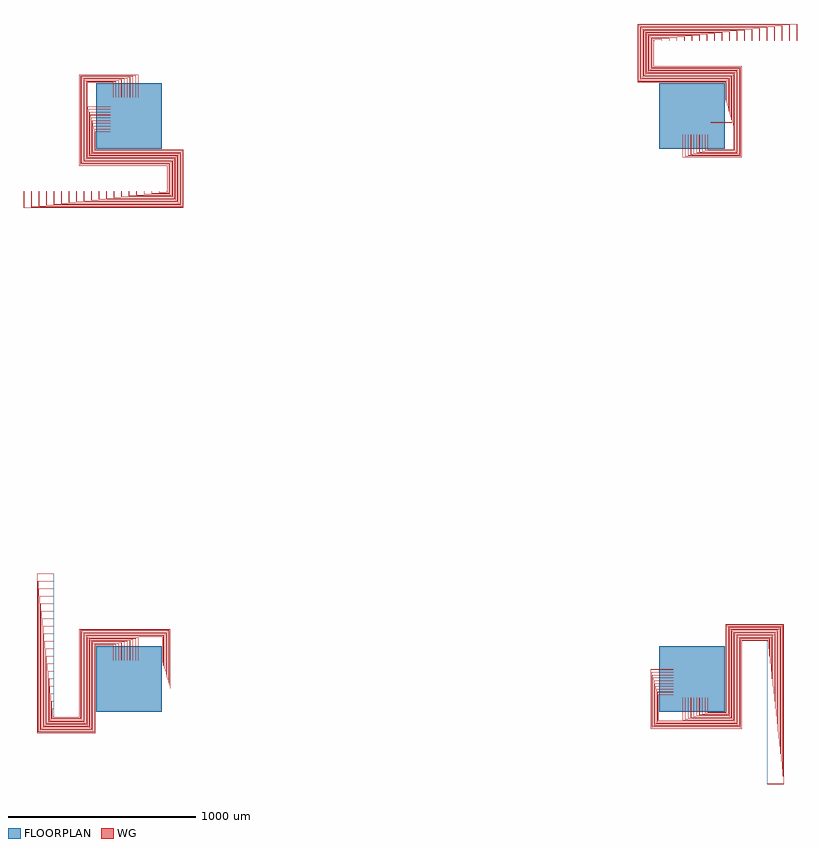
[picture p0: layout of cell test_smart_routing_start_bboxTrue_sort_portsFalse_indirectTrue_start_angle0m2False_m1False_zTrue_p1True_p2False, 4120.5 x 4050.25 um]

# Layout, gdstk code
import gdstk
lib = gdstk.Library(unit=1e-6, precision=1e-09)
def R(c, l, rs):  # rectangles x0, y0, x1, y1
    for r in rs: c.add(gdstk.rectangle(r[:2], r[2:], *l))
def P(c, l, *ps):  # polygons
    for p in ps: c.add(gdstk.Polygon(p, *l))
WG = (1, 0)
FLOORPLAN = (10, 0)

test_smart_routing_start = lib.new_cell('test_smart_routing_start_bboxTrue_sort_portsFalse_indirectTrue_start_angle0m2False_m1False_zTrue_p1True_p2False')
P(test_smart_routing_start, WG, [(2949.75,2780),(2949.75,2900),(2949.95,2900),(2949.95,2780.2),(3264.8,2780.2),(3264.8,3264.8),(2795.55,3264.8),(2795.55,3404.2),(2799.95,3404.2),(2799.95,3400),(2799.75,3400),(2799.75,3404),(2795.75,3404),(2795.75,3265),(3265,3265),(3265,2780)],
  [(2950.05,2780.3),(2950.05,2900),(2950.25,2900),(2950.25,2780.5),(3264.5,2780.5),(3264.5,3264.5),(2795.25,3264.5),(2795.25,3404.5),(2800.25,3404.5),(2800.25,3400),(2800.05,3400),(2800.05,3404.3),(2795.45,3404.3),(2795.45,3264.7),(3264.7,3264.7),(3264.7,2780.3)],
  [(2964.75,2784.5),(2964.75,2900),(2964.95,2900),(2964.95,2784.7),(3260.3,2784.7),(3260.3,3260.3),(2791.05,3260.3),(2791.05,3408.7),(2839.95,3408.7),(2839.95,3400),(2839.75,3400),(2839.75,3408.5),(2791.25,3408.5),(2791.25,3260.5),(3260.5,3260.5),(3260.5,2784.5)],
  [(2965.05,2784.8),(2965.05,2900),(2965.25,2900),(2965.25,2785),(3260,2785),(3260,3260),(2790.75,3260),(2790.75,3409),(2840.25,3409),(2840.25,3400),(2840.05,3400),(2840.05,3408.8),(2790.95,3408.8),(2790.95,3260.2),(3260.2,3260.2),(3260.2,2784.8)],
  [(2979.75,2789),(2979.75,2900),(2979.95,2900),(2979.95,2789.2),(3255.8,2789.2),(3255.8,3255.8),(2786.55,3255.8),(2786.55,3413.2),(2879.95,3413.2),(2879.95,3400),(2879.75,3400),(2879.75,3413),(2786.75,3413),(2786.75,3256),(3256,3256),(3256,2789)],
  [(2980.05,2789.3),(2980.05,2900),(2980.25,2900),(2980.25,2789.5),(3255.5,2789.5),(3255.5,3255.5),(2786.25,3255.5),(2786.25,3413.5),(2880.25,3413.5),(2880.25,3400),(2880.05,3400),(2880.05,3413.3),(2786.45,3413.3),(2786.45,3255.7),(3255.7,3255.7),(3255.7,2789.3)],
  [(2994.75,2793.5),(2994.75,2900),(2994.95,2900),(2994.95,2793.7),(3251.3,2793.7),(3251.3,3251.3),(2782.05,3251.3),(2782.05,3417.7),(2919.95,3417.7),(2919.95,3400),(2919.75,3400),(2919.75,3417.5),(2782.25,3417.5),(2782.25,3251.5),(3251.5,3251.5),(3251.5,2793.5)],
  [(2995.05,2793.8),(2995.05,2900),(2995.25,2900),(2995.25,2794),(3251,2794),(3251,3251),(2781.75,3251),(2781.75,3418),(2920.25,3418),(2920.25,3400),(2920.05,3400),(2920.05,3417.8),(2781.95,3417.8),(2781.95,3251.2),(3251.2,3251.2),(3251.2,2793.8)],
  [(3009.75,2798),(3009.75,2900),(3009.95,2900),(3009.95,2798.2),(3246.8,2798.2),(3246.8,3246.8),(2777.55,3246.8),(2777.55,3422.2),(2959.95,3422.2),(2959.95,3400),(2959.75,3400),(2959.75,3422),(2777.75,3422),(2777.75,3247),(3247,3247),(3247,2798)],
  [(3010.05,2798.3),(3010.05,2900),(3010.25,2900),(3010.25,2798.5),(3246.5,2798.5),(3246.5,3246.5),(2777.25,3246.5),(2777.25,3422.5),(2960.25,3422.5),(2960.25,3400),(2960.05,3400),(2960.05,3422.3),(2777.45,3422.3),(2777.45,3246.7),(3246.7,3246.7),(3246.7,2798.3)],
  [(3024.75,2802.5),(3024.75,2900),(3024.95,2900),(3024.95,2802.7),(3242.3,2802.7),(3242.3,3242.3),(2773.05,3242.3),(2773.05,3426.7),(2999.95,3426.7),(2999.95,3400),(2999.75,3400),(2999.75,3426.5),(2773.25,3426.5),(2773.25,3242.5),(3242.5,3242.5),(3242.5,2802.5)],
  [(3025.05,2802.8),(3025.05,2900),(3025.25,2900),(3025.25,2803),(3242,2803),(3242,3242),(2772.75,3242),(2772.75,3427),(3000.25,3427),(3000.25,3400),(3000.05,3400),(3000.05,3426.8),(2772.95,3426.8),(2772.95,3242.2),(3242.2,3242.2),(3242.2,2802.8)],
  [(3039.75,2807),(3039.75,2900),(3039.95,2900),(3039.95,2807.2),(3237.8,2807.2),(3237.8,3237.8),(2768.55,3237.8),(2768.55,3431.2),(3039.95,3431.2),(3039.95,3400),(3039.75,3400),(3039.75,3431),(2768.75,3431),(2768.75,3238),(3238,3238),(3238,2807)],
  [(3040.05,2807.3),(3040.05,2900),(3040.25,2900),(3040.25,2807.5),(3237.5,2807.5),(3237.5,3237.5),(2768.25,3237.5),(2768.25,3431.5),(3040.25,3431.5),(3040.25,3400),(3040.05,3400),(3040.05,3431.3),(2768.45,3431.3),(2768.45,3237.7),(3237.7,3237.7),(3237.7,2807.3)],
  [(3054.75,2811.5),(3054.75,2900),(3054.95,2900),(3054.95,2811.7),(3233.3,2811.7),(3233.3,3233.3),(2764.05,3233.3),(2764.05,3435.7),(3079.95,3435.7),(3079.95,3400),(3079.75,3400),(3079.75,3435.5),(2764.25,3435.5),(2764.25,3233.5),(3233.5,3233.5),(3233.5,2811.5)],
  [(3055.05,2811.8),(3055.05,2900),(3055.25,2900),(3055.25,2812),(3233,2812),(3233,3233),(2763.75,3233),(2763.75,3436),(3080.25,3436),(3080.25,3400),(3080.05,3400),(3080.05,3435.8),(2763.95,3435.8),(2763.95,3233.2),(3233.2,3233.2),(3233.2,2811.8)],
  [(3069.75,2816),(3069.75,2900),(3069.95,2900),(3069.95,2816.2),(3228.8,2816.2),(3228.8,3228.8),(2759.55,3228.8),(2759.55,3440.2),(3119.95,3440.2),(3119.95,3400),(3119.75,3400),(3119.75,3440),(2759.75,3440),(2759.75,3229),(3229,3229),(3229,2816)],
  [(3070.05,2816.3),(3070.05,2900),(3070.25,2900),(3070.25,2816.5),(3228.5,2816.5),(3228.5,3228.5),(2759.25,3228.5),(2759.25,3440.5),(3120.25,3440.5),(3120.25,3400),(3120.05,3400),(3120.05,3440.3),(2759.45,3440.3),(2759.45,3228.7),(3228.7,3228.7),(3228.7,2816.3)],
  [(3084.75,2820.5),(3084.75,2900),(3084.95,2900),(3084.95,2820.7),(3224.3,2820.7),(3224.3,3224.3),(2755.05,3224.3),(2755.05,3444.7),(3159.95,3444.7),(3159.95,3400),(3159.75,3400),(3159.75,3444.5),(2755.25,3444.5),(2755.25,3224.5),(3224.5,3224.5),(3224.5,2820.5)],
  [(3085.05,2820.8),(3085.05,2900),(3085.25,2900),(3085.25,2821),(3224,2821),(3224,3224),(2754.75,3224),(2754.75,3445),(3160.25,3445),(3160.25,3400),(3160.05,3400),(3160.05,3444.8),(2754.95,3444.8),(2754.95,3224.2),(3224.2,3224.2),(3224.2,2820.8)],
  [(3100,2949.75),(3100,2949.95),(3219.8,2949.95),(3219.8,3219.8),(2750.55,3219.8),(2750.55,3449.2),(3199.95,3449.2),(3199.95,3400),(3199.75,3400),(3199.75,3449),(2750.75,3449),(2750.75,3220),(3220,3220),(3220,2949.75)],
  [(3100,2950.05),(3100,2950.25),(3219.5,2950.25),(3219.5,3219.5),(2750.25,3219.5),(2750.25,3449.5),(3200.25,3449.5),(3200.25,3400),(3200.05,3400),(3200.05,3449.3),(2750.45,3449.3),(2750.45,3219.7),(3219.7,3219.7),(3219.7,2950.05)],
  [(3100,2964.75),(3100,2964.95),(3215.3,2964.95),(3215.3,3215.3),(2746.05,3215.3),(2746.05,3453.7),(3239.95,3453.7),(3239.95,3400),(3239.75,3400),(3239.75,3453.5),(2746.25,3453.5),(2746.25,3215.5),(3215.5,3215.5),(3215.5,2964.75)],
  [(3100,2965.05),(3100,2965.25),(3215,2965.25),(3215,3215),(2745.75,3215),(2745.75,3454),(3240.25,3454),(3240.25,3400),(3240.05,3400),(3240.05,3453.8),(2745.95,3453.8),(2745.95,3215.2),(3215.2,3215.2),(3215.2,2965.05)],
  [(3100,2979.75),(3100,2979.95),(3210.8,2979.95),(3210.8,3210.8),(2741.55,3210.8),(2741.55,3458.2),(3279.95,3458.2),(3279.95,3400),(3279.75,3400),(3279.75,3458),(2741.75,3458),(2741.75,3211),(3211,3211),(3211,2979.75)],
  [(3100,2980.05),(3100,2980.25),(3210.5,2980.25),(3210.5,3210.5),(2741.25,3210.5),(2741.25,3458.5),(3280.25,3458.5),(3280.25,3400),(3280.05,3400),(3280.05,3458.3),(2741.45,3458.3),(2741.45,3210.7),(3210.7,3210.7),(3210.7,2980.05)],
  [(3100,2994.75),(3100,2994.95),(3206.3,2994.95),(3206.3,3206.3),(2737.05,3206.3),(2737.05,3462.7),(3319.95,3462.7),(3319.95,3400),(3319.75,3400),(3319.75,3462.5),(2737.25,3462.5),(2737.25,3206.5),(3206.5,3206.5),(3206.5,2994.75)],
  [(3100,2995.05),(3100,2995.25),(3206,2995.25),(3206,3206),(2736.75,3206),(2736.75,3463),(3320.25,3463),(3320.25,3400),(3320.05,3400),(3320.05,3462.8),(2736.95,3462.8),(2736.95,3206.2),(3206.2,3206.2),(3206.2,2995.05)],
  [(3100,3009.75),(3100,3009.95),(3201.8,3009.95),(3201.8,3201.8),(2732.55,3201.8),(2732.55,3467.2),(3359.95,3467.2),(3359.95,3400),(3359.75,3400),(3359.75,3467),(2732.75,3467),(2732.75,3202),(3202,3202),(3202,3009.75)],
  [(3100,3010.05),(3100,3010.25),(3201.5,3010.25),(3201.5,3201.5),(2732.25,3201.5),(2732.25,3467.5),(3360.25,3467.5),(3360.25,3400),(3360.05,3400),(3360.05,3467.3),(2732.45,3467.3),(2732.45,3201.7),(3201.7,3201.7),(3201.7,3010.05)],
  [(3100,3024.75),(3100,3024.95),(3197.3,3024.95),(3197.3,3197.3),(2728.05,3197.3),(2728.05,3471.7),(3399.95,3471.7),(3399.95,3400),(3399.75,3400),(3399.75,3471.5),(2728.25,3471.5),(2728.25,3197.5),(3197.5,3197.5),(3197.5,3024.75)],
  [(3100,3025.05),(3100,3025.25),(3197,3025.25),(3197,3197),(2727.75,3197),(2727.75,3472),(3400.25,3472),(3400.25,3400),(3400.05,3400),(3400.05,3471.8),(2727.95,3471.8),(2727.95,3197.2),(3197.2,3197.2),(3197.2,3025.05)],
  [(3100,3039.75),(3100,3039.95),(3192.8,3039.95),(3192.8,3192.8),(2723.55,3192.8),(2723.55,3476.2),(3439.95,3476.2),(3439.95,3400),(3439.75,3400),(3439.75,3476),(2723.75,3476),(2723.75,3193),(3193,3193),(3193,3039.75)],
  [(3100,3040.05),(3100,3040.25),(3192.5,3040.25),(3192.5,3192.5),(2723.25,3192.5),(2723.25,3476.5),(3440.25,3476.5),(3440.25,3400),(3440.05,3400),(3440.05,3476.3),(2723.45,3476.3),(2723.45,3192.7),(3192.7,3192.7),(3192.7,3040.05)],
  [(3100,3054.75),(3100,3054.95),(3188.3,3054.95),(3188.3,3188.3),(2719.05,3188.3),(2719.05,3480.7),(3479.95,3480.7),(3479.95,3400),(3479.75,3400),(3479.75,3480.5),(2719.25,3480.5),(2719.25,3188.5),(3188.5,3188.5),(3188.5,3054.75)],
  [(3100,3055.05),(3100,3055.25),(3188,3055.25),(3188,3188),(2718.75,3188),(2718.75,3481),(3480.25,3481),(3480.25,3400),(3480.05,3400),(3480.05,3480.8),(2718.95,3480.8),(2718.95,3188.2),(3188.2,3188.2),(3188.2,3055.05)],
  [(3100,3069.75),(3100,3069.95),(3183.8,3069.95),(3183.8,3183.8),(2714.55,3183.8),(2714.55,3485.2),(3519.95,3485.2),(3519.95,3400),(3519.75,3400),(3519.75,3485),(2714.75,3485),(2714.75,3184),(3184,3184),(3184,3069.75)],
  [(3100,3070.05),(3100,3070.25),(3183.5,3070.25),(3183.5,3183.5),(2714.25,3183.5),(2714.25,3485.5),(3520.25,3485.5),(3520.25,3400),(3520.05,3400),(3520.05,3485.3),(2714.45,3485.3),(2714.45,3183.7),(3183.7,3183.7),(3183.7,3070.05)],
  [(3100,3084.75),(3100,3084.95),(3179.3,3084.95),(3179.3,3179.3),(2710.05,3179.3),(2710.05,3489.7),(3559.95,3489.7),(3559.95,3400),(3559.75,3400),(3559.75,3489.5),(2710.25,3489.5),(2710.25,3179.5),(3179.5,3179.5),(3179.5,3084.75)],
  [(3100,3085.05),(3100,3085.25),(3179,3085.25),(3179,3179),(2709.75,3179),(2709.75,3490),(3560.25,3490),(3560.25,3400),(3560.05,3400),(3560.05,3489.8),(2709.95,3489.8),(2709.95,3179.2),(3179.2,3179.2),(3179.2,3085.05)],
  [(199.75,2595.5),(199.75,2600),(199.95,2600),(199.95,2595.7),(204.55,2595.7),(204.55,2735.3),(-264.7,2735.3),(-264.7,3219.7),(49.95,3219.7),(49.95,3100),(49.75,3100),(49.75,3219.5),(-264.5,3219.5),(-264.5,2735.5),(204.75,2735.5),(204.75,2595.5)],
  [(200.05,2595.8),(200.05,2600),(200.25,2600),(200.25,2596),(204.25,2596),(204.25,2735),(-265,2735),(-265,3220),(50.25,3220),(50.25,3100),(50.05,3100),(50.05,3219.8),(-264.8,3219.8),(-264.8,2735.2),(204.45,2735.2),(204.45,2595.8)],
  [(159.75,2591),(159.75,2600),(159.95,2600),(159.95,2591.2),(209.05,2591.2),(209.05,2739.8),(-260.2,2739.8),(-260.2,3215.2),(34.95,3215.2),(34.95,3100),(34.75,3100),(34.75,3215),(-260,3215),(-260,2740),(209.25,2740),(209.25,2591)],
  [(160.05,2591.3),(160.05,2600),(160.25,2600),(160.25,2591.5),(208.75,2591.5),(208.75,2739.5),(-260.5,2739.5),(-260.5,3215.5),(35.25,3215.5),(35.25,3100),(35.05,3100),(35.05,3215.3),(-260.3,3215.3),(-260.3,2739.7),(208.95,2739.7),(208.95,2591.3)],
  [(119.75,2586.5),(119.75,2600),(119.95,2600),(119.95,2586.7),(213.55,2586.7),(213.55,2744.3),(-255.7,2744.3),(-255.7,3210.7),(19.95,3210.7),(19.95,3100),(19.75,3100),(19.75,3210.5),(-255.5,3210.5),(-255.5,2744.5),(213.75,2744.5),(213.75,2586.5)],
  [(120.05,2586.8),(120.05,2600),(120.25,2600),(120.25,2587),(213.25,2587),(213.25,2744),(-256,2744),(-256,3211),(20.25,3211),(20.25,3100),(20.05,3100),(20.05,3210.8),(-255.8,3210.8),(-255.8,2744.2),(213.45,2744.2),(213.45,2586.8)],
  [(79.75,2582),(79.75,2600),(79.95,2600),(79.95,2582.2),(218.05,2582.2),(218.05,2748.8),(-251.2,2748.8),(-251.2,3206.2),(4.95,3206.2),(4.95,3100),(4.75,3100),(4.75,3206),(-251,3206),(-251,2749),(218.25,2749),(218.25,2582)],
  [(80.05,2582.3),(80.05,2600),(80.25,2600),(80.25,2582.5),(217.75,2582.5),(217.75,2748.5),(-251.5,2748.5),(-251.5,3206.5),(5.25,3206.5),(5.25,3100),(5.05,3100),(5.05,3206.3),(-251.3,3206.3),(-251.3,2748.7),(217.95,2748.7),(217.95,2582.3)],
  [(39.75,2577.5),(39.75,2600),(39.95,2600),(39.95,2577.7),(222.55,2577.7),(222.55,2753.3),(-246.7,2753.3),(-246.7,3201.7),(-10.05,3201.7),(-10.05,3100),(-10.25,3100),(-10.25,3201.5),(-246.5,3201.5),(-246.5,2753.5),(222.75,2753.5),(222.75,2577.5)],
  [(40.05,2577.8),(40.05,2600),(40.25,2600),(40.25,2578),(222.25,2578),(222.25,2753),(-247,2753),(-247,3202),(-9.75,3202),(-9.75,3100),(-9.95,3100),(-9.95,3201.8),(-246.8,3201.8),(-246.8,2753.2),(222.45,2753.2),(222.45,2577.8)],
  [(-0.25,2573),(-0.25,2600),(-0.05,2600),(-0.05,2573.2),(227.05,2573.2),(227.05,2757.8),(-242.2,2757.8),(-242.2,3197.2),(-25.05,3197.2),(-25.05,3100),(-25.25,3100),(-25.25,3197),(-242,3197),(-242,2758),(227.25,2758),(227.25,2573)],
  [(0.05,2573.3),(0.05,2600),(0.25,2600),(0.25,2573.5),(226.75,2573.5),(226.75,2757.5),(-242.5,2757.5),(-242.5,3197.5),(-24.75,3197.5),(-24.75,3100),(-24.95,3100),(-24.95,3197.3),(-242.3,3197.3),(-242.3,2757.7),(226.95,2757.7),(226.95,2573.3)],
  [(-40.25,2568.5),(-40.25,2600),(-40.05,2600),(-40.05,2568.7),(231.55,2568.7),(231.55,2762.3),(-237.7,2762.3),(-237.7,3192.7),(-40.05,3192.7),(-40.05,3100),(-40.25,3100),(-40.25,3192.5),(-237.5,3192.5),(-237.5,2762.5),(231.75,2762.5),(231.75,2568.5)],
  [(-39.95,2568.8),(-39.95,2600),(-39.75,2600),(-39.75,2569),(231.25,2569),(231.25,2762),(-238,2762),(-238,3193),(-39.75,3193),(-39.75,3100),(-39.95,3100),(-39.95,3192.8),(-237.8,3192.8),(-237.8,2762.2),(231.45,2762.2),(231.45,2568.8)],
  [(-80.25,2564),(-80.25,2600),(-80.05,2600),(-80.05,2564.2),(236.05,2564.2),(236.05,2766.8),(-233.2,2766.8),(-233.2,3188.2),(-55.05,3188.2),(-55.05,3100),(-55.25,3100),(-55.25,3188),(-233,3188),(-233,2767),(236.25,2767),(236.25,2564)],
  [(-79.95,2564.3),(-79.95,2600),(-79.75,2600),(-79.75,2564.5),(235.75,2564.5),(235.75,2766.5),(-233.5,2766.5),(-233.5,3188.5),(-54.75,3188.5),(-54.75,3100),(-54.95,3100),(-54.95,3188.3),(-233.3,3188.3),(-233.3,2766.7),(235.95,2766.7),(235.95,2564.3)],
  [(-120.25,2559.5),(-120.25,2600),(-120.05,2600),(-120.05,2559.7),(240.55,2559.7),(240.55,2771.3),(-228.7,2771.3),(-228.7,3183.7),(-70.05,3183.7),(-70.05,3100),(-70.25,3100),(-70.25,3183.5),(-228.5,3183.5),(-228.5,2771.5),(240.75,2771.5),(240.75,2559.5)],
  [(-119.95,2559.8),(-119.95,2600),(-119.75,2600),(-119.75,2560),(240.25,2560),(240.25,2771),(-229,2771),(-229,3184),(-69.75,3184),(-69.75,3100),(-69.95,3100),(-69.95,3183.8),(-228.8,3183.8),(-228.8,2771.2),(240.45,2771.2),(240.45,2559.8)],
  [(-160.25,2555),(-160.25,2600),(-160.05,2600),(-160.05,2555.2),(245.05,2555.2),(245.05,2775.8),(-224.2,2775.8),(-224.2,3179.2),(-85.05,3179.2),(-85.05,3100),(-85.25,3100),(-85.25,3179),(-224,3179),(-224,2776),(245.25,2776),(245.25,2555)],
  [(-159.95,2555.3),(-159.95,2600),(-159.75,2600),(-159.75,2555.5),(244.75,2555.5),(244.75,2775.5),(-224.5,2775.5),(-224.5,3179.5),(-84.75,3179.5),(-84.75,3100),(-84.95,3100),(-84.95,3179.3),(-224.3,3179.3),(-224.3,2775.7),(244.95,2775.7),(244.95,2555.3)],
  [(-200.25,2550.5),(-200.25,2600),(-200.05,2600),(-200.05,2550.7),(249.55,2550.7),(249.55,2780.3),(-219.7,2780.3),(-219.7,3049.95),(-100,3049.95),(-100,3049.75),(-219.5,3049.75),(-219.5,2780.5),(249.75,2780.5),(249.75,2550.5)],
  [(-199.95,2550.8),(-199.95,2600),(-199.75,2600),(-199.75,2551),(249.25,2551),(249.25,2780),(-220,2780),(-220,3050.25),(-100,3050.25),(-100,3050.05),(-219.8,3050.05),(-219.8,2780.2),(249.45,2780.2),(249.45,2550.8)],
  [(-240.25,2546),(-240.25,2600),(-240.05,2600),(-240.05,2546.2),(254.05,2546.2),(254.05,2784.8),(-215.2,2784.8),(-215.2,3034.95),(-100,3034.95),(-100,3034.75),(-215,3034.75),(-215,2785),(254.25,2785),(254.25,2546)],
  [(-239.95,2546.3),(-239.95,2600),(-239.75,2600),(-239.75,2546.5),(253.75,2546.5),(253.75,2784.5),(-215.5,2784.5),(-215.5,3035.25),(-100,3035.25),(-100,3035.05),(-215.3,3035.05),(-215.3,2784.7),(253.95,2784.7),(253.95,2546.3)],
  [(-280.25,2541.5),(-280.25,2600),(-280.05,2600),(-280.05,2541.7),(258.55,2541.7),(258.55,2789.3),(-210.7,2789.3),(-210.7,3019.95),(-100,3019.95),(-100,3019.75),(-210.5,3019.75),(-210.5,2789.5),(258.75,2789.5),(258.75,2541.5)],
  [(-279.95,2541.8),(-279.95,2600),(-279.75,2600),(-279.75,2542),(258.25,2542),(258.25,2789),(-211,2789),(-211,3020.25),(-100,3020.25),(-100,3020.05),(-210.8,3020.05),(-210.8,2789.2),(258.45,2789.2),(258.45,2541.8)],
  [(-320.25,2537),(-320.25,2600),(-320.05,2600),(-320.05,2537.2),(263.05,2537.2),(263.05,2793.8),(-206.2,2793.8),(-206.2,3004.95),(-100,3004.95),(-100,3004.75),(-206,3004.75),(-206,2794),(263.25,2794),(263.25,2537)],
  [(-319.95,2537.3),(-319.95,2600),(-319.75,2600),(-319.75,2537.5),(262.75,2537.5),(262.75,2793.5),(-206.5,2793.5),(-206.5,3005.25),(-100,3005.25),(-100,3005.05),(-206.3,3005.05),(-206.3,2793.7),(262.95,2793.7),(262.95,2537.3)],
  [(-360.25,2532.5),(-360.25,2600),(-360.05,2600),(-360.05,2532.7),(267.55,2532.7),(267.55,2798.3),(-201.7,2798.3),(-201.7,2989.95),(-100,2989.95),(-100,2989.75),(-201.5,2989.75),(-201.5,2798.5),(267.75,2798.5),(267.75,2532.5)],
  [(-359.95,2532.8),(-359.95,2600),(-359.75,2600),(-359.75,2533),(267.25,2533),(267.25,2798),(-202,2798),(-202,2990.25),(-100,2990.25),(-100,2990.05),(-201.8,2990.05),(-201.8,2798.2),(267.45,2798.2),(267.45,2532.8)],
  [(-400.25,2528),(-400.25,2600),(-400.05,2600),(-400.05,2528.2),(272.05,2528.2),(272.05,2802.8),(-197.2,2802.8),(-197.2,2974.95),(-100,2974.95),(-100,2974.75),(-197,2974.75),(-197,2803),(272.25,2803),(272.25,2528)],
  [(-399.95,2528.3),(-399.95,2600),(-399.75,2600),(-399.75,2528.5),(271.75,2528.5),(271.75,2802.5),(-197.5,2802.5),(-197.5,2975.25),(-100,2975.25),(-100,2975.05),(-197.3,2975.05),(-197.3,2802.7),(271.95,2802.7),(271.95,2528.3)],
  [(-440.25,2523.5),(-440.25,2600),(-440.05,2600),(-440.05,2523.7),(276.55,2523.7),(276.55,2807.3),(-192.7,2807.3),(-192.7,2959.95),(-100,2959.95),(-100,2959.75),(-192.5,2959.75),(-192.5,2807.5),(276.75,2807.5),(276.75,2523.5)],
  [(-439.95,2523.8),(-439.95,2600),(-439.75,2600),(-439.75,2524),(276.25,2524),(276.25,2807),(-193,2807),(-193,2960.25),(-100,2960.25),(-100,2960.05),(-192.8,2960.05),(-192.8,2807.2),(276.45,2807.2),(276.45,2523.8)],
  [(-480.25,2519),(-480.25,2600),(-480.05,2600),(-480.05,2519.2),(281.05,2519.2),(281.05,2811.8),(-188.2,2811.8),(-188.2,2944.95),(-100,2944.95),(-100,2944.75),(-188,2944.75),(-188,2812),(281.25,2812),(281.25,2519)],
  [(-479.95,2519.3),(-479.95,2600),(-479.75,2600),(-479.75,2519.5),(280.75,2519.5),(280.75,2811.5),(-188.5,2811.5),(-188.5,2945.25),(-100,2945.25),(-100,2945.05),(-188.3,2945.05),(-188.3,2811.7),(280.95,2811.7),(280.95,2519.3)],
  [(-520.25,2514.5),(-520.25,2600),(-520.05,2600),(-520.05,2514.7),(285.55,2514.7),(285.55,2816.3),(-183.7,2816.3),(-183.7,2929.95),(-100,2929.95),(-100,2929.75),(-183.5,2929.75),(-183.5,2816.5),(285.75,2816.5),(285.75,2514.5)],
  [(-519.95,2514.8),(-519.95,2600),(-519.75,2600),(-519.75,2515),(285.25,2515),(285.25,2816),(-184,2816),(-184,2930.25),(-100,2930.25),(-100,2930.05),(-183.8,2930.05),(-183.8,2816.2),(285.45,2816.2),(285.45,2514.8)],
  [(-560.25,2510),(-560.25,2600),(-560.05,2600),(-560.05,2510.2),(290.05,2510.2),(290.05,2820.8),(-179.2,2820.8),(-179.2,2914.95),(-100,2914.95),(-100,2914.75),(-179,2914.75),(-179,2821),(290.25,2821),(290.25,2510)],
  [(-559.95,2510.3),(-559.95,2600),(-559.75,2600),(-559.75,2510.5),(289.75,2510.5),(289.75,2820.5),(-179.5,2820.5),(-179.5,2915.25),(-100,2915.25),(-100,2915.05),(-179.3,2915.05),(-179.3,2820.7),(289.95,2820.7),(289.95,2510.3)],
  [(-404.5,-204.75),(-404.5,-199.75),(-400,-199.75),(-400,-199.95),(-404.3,-199.95),(-404.3,-204.55),(-264.7,-204.55),(-264.7,264.7),(219.7,264.7),(219.7,-49.95),(100,-49.95),(100,-49.75),(219.5,-49.75),(219.5,264.5),(-264.5,264.5),(-264.5,-204.75)],
  [(-404.2,-204.45),(-404.2,-200.05),(-400,-200.05),(-400,-200.25),(-404,-200.25),(-404,-204.25),(-265,-204.25),(-265,265),(220,265),(220,-50.25),(100,-50.25),(100,-50.05),(219.8,-50.05),(219.8,264.8),(-264.8,264.8),(-264.8,-204.45)],
  [(-409,-209.25),(-409,-159.75),(-400,-159.75),(-400,-159.95),(-408.8,-159.95),(-408.8,-209.05),(-260.2,-209.05),(-260.2,260.2),(215.2,260.2),(215.2,-34.95),(100,-34.95),(100,-34.75),(215,-34.75),(215,260),(-260,260),(-260,-209.25)],
  [(-408.7,-208.95),(-408.7,-160.05),(-400,-160.05),(-400,-160.25),(-408.5,-160.25),(-408.5,-208.75),(-260.5,-208.75),(-260.5,260.5),(215.5,260.5),(215.5,-35.25),(100,-35.25),(100,-35.05),(215.3,-35.05),(215.3,260.3),(-260.3,260.3),(-260.3,-208.95)],
  [(-413.5,-213.75),(-413.5,-119.75),(-400,-119.75),(-400,-119.95),(-413.3,-119.95),(-413.3,-213.55),(-255.7,-213.55),(-255.7,255.7),(210.7,255.7),(210.7,-19.95),(100,-19.95),(100,-19.75),(210.5,-19.75),(210.5,255.5),(-255.5,255.5),(-255.5,-213.75)],
  [(-413.2,-213.45),(-413.2,-120.05),(-400,-120.05),(-400,-120.25),(-413,-120.25),(-413,-213.25),(-256,-213.25),(-256,256),(211,256),(211,-20.25),(100,-20.25),(100,-20.05),(210.8,-20.05),(210.8,255.8),(-255.8,255.8),(-255.8,-213.45)],
  [(-418,-218.25),(-418,-79.75),(-400,-79.75),(-400,-79.95),(-417.8,-79.95),(-417.8,-218.05),(-251.2,-218.05),(-251.2,251.2),(206.2,251.2),(206.2,-4.95),(100,-4.95),(100,-4.75),(206,-4.75),(206,251),(-251,251),(-251,-218.25)],
  [(-417.7,-217.95),(-417.7,-80.05),(-400,-80.05),(-400,-80.25),(-417.5,-80.25),(-417.5,-217.75),(-251.5,-217.75),(-251.5,251.5),(206.5,251.5),(206.5,-5.25),(100,-5.25),(100,-5.05),(206.3,-5.05),(206.3,251.3),(-251.3,251.3),(-251.3,-217.95)],
  [(-422.5,-222.75),(-422.5,-39.75),(-400,-39.75),(-400,-39.95),(-422.3,-39.95),(-422.3,-222.55),(-246.7,-222.55),(-246.7,246.7),(201.7,246.7),(201.7,10.05),(100,10.05),(100,10.25),(201.5,10.25),(201.5,246.5),(-246.5,246.5),(-246.5,-222.75)],
  [(-422.2,-222.45),(-422.2,-40.05),(-400,-40.05),(-400,-40.25),(-422,-40.25),(-422,-222.25),(-247,-222.25),(-247,247),(202,247),(202,9.75),(100,9.75),(100,9.95),(201.8,9.95),(201.8,246.8),(-246.8,246.8),(-246.8,-222.45)],
  [(-427,-227.25),(-427,0.25),(-400,0.25),(-400,0.05),(-426.8,0.05),(-426.8,-227.05),(-242.2,-227.05),(-242.2,242.2),(197.2,242.2),(197.2,25.05),(100,25.05),(100,25.25),(197,25.25),(197,242),(-242,242),(-242,-227.25)],
  [(-426.7,-226.95),(-426.7,-0.05),(-400,-0.05),(-400,-0.25),(-426.5,-0.25),(-426.5,-226.75),(-242.5,-226.75),(-242.5,242.5),(197.5,242.5),(197.5,24.75),(100,24.75),(100,24.95),(197.3,24.95),(197.3,242.3),(-242.3,242.3),(-242.3,-226.95)],
  [(-431.5,-231.75),(-431.5,40.25),(-400,40.25),(-400,40.05),(-431.3,40.05),(-431.3,-231.55),(-237.7,-231.55),(-237.7,237.7),(192.7,237.7),(192.7,40.05),(100,40.05),(100,40.25),(192.5,40.25),(192.5,237.5),(-237.5,237.5),(-237.5,-231.75)],
  [(-431.2,-231.45),(-431.2,39.95),(-400,39.95),(-400,39.75),(-431,39.75),(-431,-231.25),(-238,-231.25),(-238,238),(193,238),(193,39.75),(100,39.75),(100,39.95),(192.8,39.95),(192.8,237.8),(-237.8,237.8),(-237.8,-231.45)],
  [(-436,-236.25),(-436,80.25),(-400,80.25),(-400,80.05),(-435.8,80.05),(-435.8,-236.05),(-233.2,-236.05),(-233.2,233.2),(188.2,233.2),(188.2,55.05),(100,55.05),(100,55.25),(188,55.25),(188,233),(-233,233),(-233,-236.25)],
  [(-435.7,-235.95),(-435.7,79.95),(-400,79.95),(-400,79.75),(-435.5,79.75),(-435.5,-235.75),(-233.5,-235.75),(-233.5,233.5),(188.5,233.5),(188.5,54.75),(100,54.75),(100,54.95),(188.3,54.95),(188.3,233.3),(-233.3,233.3),(-233.3,-235.95)],
  [(-440.5,-240.75),(-440.5,120.25),(-400,120.25),(-400,120.05),(-440.3,120.05),(-440.3,-240.55),(-228.7,-240.55),(-228.7,228.7),(183.7,228.7),(183.7,70.05),(100,70.05),(100,70.25),(183.5,70.25),(183.5,228.5),(-228.5,228.5),(-228.5,-240.75)],
  [(-440.2,-240.45),(-440.2,119.95),(-400,119.95),(-400,119.75),(-440,119.75),(-440,-240.25),(-229,-240.25),(-229,229),(184,229),(184,69.75),(100,69.75),(100,69.95),(183.8,69.95),(183.8,228.8),(-228.8,228.8),(-228.8,-240.45)],
  [(-445,-245.25),(-445,160.25),(-400,160.25),(-400,160.05),(-444.8,160.05),(-444.8,-245.05),(-224.2,-245.05),(-224.2,224.2),(179.2,224.2),(179.2,85.05),(100,85.05),(100,85.25),(179,85.25),(179,224),(-224,224),(-224,-245.25)],
  [(-444.7,-244.95),(-444.7,159.95),(-400,159.95),(-400,159.75),(-444.5,159.75),(-444.5,-244.75),(-224.5,-244.75),(-224.5,224.5),(179.5,224.5),(179.5,84.75),(100,84.75),(100,84.95),(179.3,84.95),(179.3,224.3),(-224.3,224.3),(-224.3,-244.95)],
  [(-449.5,-249.75),(-449.5,200.25),(-400,200.25),(-400,200.05),(-449.3,200.05),(-449.3,-249.55),(-219.7,-249.55),(-219.7,219.7),(49.95,219.7),(49.95,100),(49.75,100),(49.75,219.5),(-219.5,219.5),(-219.5,-249.75)],
  [(-449.2,-249.45),(-449.2,199.95),(-400,199.95),(-400,199.75),(-449,199.75),(-449,-249.25),(-220,-249.25),(-220,220),(50.25,220),(50.25,100),(50.05,100),(50.05,219.8),(-219.8,219.8),(-219.8,-249.45)],
  [(-453.7,-253.95),(-453.7,239.95),(-400,239.95),(-400,239.75),(-453.5,239.75),(-453.5,-253.75),(-215.5,-253.75),(-215.5,215.5),(35.25,215.5),(35.25,100),(35.05,100),(35.05,215.3),(-215.3,215.3),(-215.3,-253.95)],
  [(-454,-254.25),(-454,240.25),(-400,240.25),(-400,240.05),(-453.8,240.05),(-453.8,-254.05),(-215.2,-254.05),(-215.2,215.2),(34.95,215.2),(34.95,100),(34.75,100),(34.75,215),(-215,215),(-215,-254.25)],
  [(-458.2,-258.45),(-458.2,279.95),(-400,279.95),(-400,279.75),(-458,279.75),(-458,-258.25),(-211,-258.25),(-211,211),(20.25,211),(20.25,100),(20.05,100),(20.05,210.8),(-210.8,210.8),(-210.8,-258.45)],
  [(-458.5,-258.75),(-458.5,280.25),(-400,280.25),(-400,280.05),(-458.3,280.05),(-458.3,-258.55),(-210.7,-258.55),(-210.7,210.7),(19.95,210.7),(19.95,100),(19.75,100),(19.75,210.5),(-210.5,210.5),(-210.5,-258.75)],
  [(-462.7,-262.95),(-462.7,319.95),(-400,319.95),(-400,319.75),(-462.5,319.75),(-462.5,-262.75),(-206.5,-262.75),(-206.5,206.5),(5.25,206.5),(5.25,100),(5.05,100),(5.05,206.3),(-206.3,206.3),(-206.3,-262.95)],
  [(-463,-263.25),(-463,320.25),(-400,320.25),(-400,320.05),(-462.8,320.05),(-462.8,-263.05),(-206.2,-263.05),(-206.2,206.2),(4.95,206.2),(4.95,100),(4.75,100),(4.75,206),(-206,206),(-206,-263.25)],
  [(-467.2,-267.45),(-467.2,359.95),(-400,359.95),(-400,359.75),(-467,359.75),(-467,-267.25),(-202,-267.25),(-202,202),(-9.75,202),(-9.75,100),(-9.95,100),(-9.95,201.8),(-201.8,201.8),(-201.8,-267.45)],
  [(-467.5,-267.75),(-467.5,360.25),(-400,360.25),(-400,360.05),(-467.3,360.05),(-467.3,-267.55),(-201.7,-267.55),(-201.7,201.7),(-10.05,201.7),(-10.05,100),(-10.25,100),(-10.25,201.5),(-201.5,201.5),(-201.5,-267.75)],
  [(-471.7,-271.95),(-471.7,399.95),(-400,399.95),(-400,399.75),(-471.5,399.75),(-471.5,-271.75),(-197.5,-271.75),(-197.5,197.5),(-24.75,197.5),(-24.75,100),(-24.95,100),(-24.95,197.3),(-197.3,197.3),(-197.3,-271.95)],
  [(-472,-272.25),(-472,400.25),(-400,400.25),(-400,400.05),(-471.8,400.05),(-471.8,-272.05),(-197.2,-272.05),(-197.2,197.2),(-25.05,197.2),(-25.05,100),(-25.25,100),(-25.25,197),(-197,197),(-197,-272.25)],
  [(-476.2,-276.45),(-476.2,439.95),(-400,439.95),(-400,439.75),(-476,439.75),(-476,-276.25),(-193,-276.25),(-193,193),(-39.75,193),(-39.75,100),(-39.95,100),(-39.95,192.8),(-192.8,192.8),(-192.8,-276.45)],
  [(-476.5,-276.75),(-476.5,440.25),(-400,440.25),(-400,440.05),(-476.3,440.05),(-476.3,-276.55),(-192.7,-276.55),(-192.7,192.7),(-40.05,192.7),(-40.05,100),(-40.25,100),(-40.25,192.5),(-192.5,192.5),(-192.5,-276.75)],
  [(-480.7,-280.95),(-480.7,479.95),(-400,479.95),(-400,479.75),(-480.5,479.75),(-480.5,-280.75),(-188.5,-280.75),(-188.5,188.5),(-54.75,188.5),(-54.75,100),(-54.95,100),(-54.95,188.3),(-188.3,188.3),(-188.3,-280.95)],
  [(-481,-281.25),(-481,480.25),(-400,480.25),(-400,480.05),(-480.8,480.05),(-480.8,-281.05),(-188.2,-281.05),(-188.2,188.2),(-55.05,188.2),(-55.05,100),(-55.25,100),(-55.25,188),(-188,188),(-188,-281.25)],
  [(-485.2,-285.45),(-485.2,519.95),(-400,519.95),(-400,519.75),(-485,519.75),(-485,-285.25),(-184,-285.25),(-184,184),(-69.75,184),(-69.75,100),(-69.95,100),(-69.95,183.8),(-183.8,183.8),(-183.8,-285.45)],
  [(-485.5,-285.75),(-485.5,520.25),(-400,520.25),(-400,520.05),(-485.3,520.05),(-485.3,-285.55),(-183.7,-285.55),(-183.7,183.7),(-70.05,183.7),(-70.05,100),(-70.25,100),(-70.25,183.5),(-183.5,183.5),(-183.5,-285.75)],
  [(-489.7,-289.95),(-489.7,559.95),(-400,559.95),(-400,559.75),(-489.5,559.75),(-489.5,-289.75),(-179.5,-289.75),(-179.5,179.5),(-84.75,179.5),(-84.75,100),(-84.95,100),(-84.95,179.3),(-179.3,179.3),(-179.3,-289.95)],
  [(-490,-290.25),(-490,560.25),(-400,560.25),(-400,560.05),(-489.8,560.05),(-489.8,-290.05),(-179.2,-290.05),(-179.2,179.2),(-85.05,179.2),(-85.05,100),(-85.25,100),(-85.25,179),(-179,179),(-179,-290.25)],
  [(2780,-265),(2780,50.25),(2900,50.25),(2900,50.05),(2780.2,50.05),(2780.2,-264.8),(3264.8,-264.8),(3264.8,204.45),(3404.2,204.45),(3404.2,200.05),(3400,200.05),(3400,200.25),(3404,200.25),(3404,204.25),(3265,204.25),(3265,-265)],
  [(2780.3,-264.7),(2780.3,49.95),(2900,49.95),(2900,49.75),(2780.5,49.75),(2780.5,-264.5),(3264.5,-264.5),(3264.5,204.75),(3404.5,204.75),(3404.5,199.75),(3400,199.75),(3400,199.95),(3404.3,199.95),(3404.3,204.55),(3264.7,204.55),(3264.7,-264.7)],
  [(2784.5,-260.5),(2784.5,35.25),(2900,35.25),(2900,35.05),(2784.7,35.05),(2784.7,-260.3),(3260.3,-260.3),(3260.3,208.95),(3408.7,208.95),(3408.7,160.05),(3400,160.05),(3400,160.25),(3408.5,160.25),(3408.5,208.75),(3260.5,208.75),(3260.5,-260.5)],
  [(2784.8,-260.2),(2784.8,34.95),(2900,34.95),(2900,34.75),(2785,34.75),(2785,-260),(3260,-260),(3260,209.25),(3409,209.25),(3409,159.75),(3400,159.75),(3400,159.95),(3408.8,159.95),(3408.8,209.05),(3260.2,209.05),(3260.2,-260.2)],
  [(2789,-256),(2789,20.25),(2900,20.25),(2900,20.05),(2789.2,20.05),(2789.2,-255.8),(3255.8,-255.8),(3255.8,213.45),(3413.2,213.45),(3413.2,120.05),(3400,120.05),(3400,120.25),(3413,120.25),(3413,213.25),(3256,213.25),(3256,-256)],
  [(2789.3,-255.7),(2789.3,19.95),(2900,19.95),(2900,19.75),(2789.5,19.75),(2789.5,-255.5),(3255.5,-255.5),(3255.5,213.75),(3413.5,213.75),(3413.5,119.75),(3400,119.75),(3400,119.95),(3413.3,119.95),(3413.3,213.55),(3255.7,213.55),(3255.7,-255.7)],
  [(2793.5,-251.5),(2793.5,5.25),(2900,5.25),(2900,5.05),(2793.7,5.05),(2793.7,-251.3),(3251.3,-251.3),(3251.3,217.95),(3417.7,217.95),(3417.7,80.05),(3400,80.05),(3400,80.25),(3417.5,80.25),(3417.5,217.75),(3251.5,217.75),(3251.5,-251.5)],
  [(2793.8,-251.2),(2793.8,4.95),(2900,4.95),(2900,4.75),(2794,4.75),(2794,-251),(3251,-251),(3251,218.25),(3418,218.25),(3418,79.75),(3400,79.75),(3400,79.95),(3417.8,79.95),(3417.8,218.05),(3251.2,218.05),(3251.2,-251.2)],
  [(2798,-247),(2798,-9.75),(2900,-9.75),(2900,-9.95),(2798.2,-9.95),(2798.2,-246.8),(3246.8,-246.8),(3246.8,222.45),(3422.2,222.45),(3422.2,40.05),(3400,40.05),(3400,40.25),(3422,40.25),(3422,222.25),(3247,222.25),(3247,-247)],
  [(2798.3,-246.7),(2798.3,-10.05),(2900,-10.05),(2900,-10.25),(2798.5,-10.25),(2798.5,-246.5),(3246.5,-246.5),(3246.5,222.75),(3422.5,222.75),(3422.5,39.75),(3400,39.75),(3400,39.95),(3422.3,39.95),(3422.3,222.55),(3246.7,222.55),(3246.7,-246.7)],
  [(2802.5,-242.5),(2802.5,-24.75),(2900,-24.75),(2900,-24.95),(2802.7,-24.95),(2802.7,-242.3),(3242.3,-242.3),(3242.3,226.95),(3426.7,226.95),(3426.7,0.05),(3400,0.05),(3400,0.25),(3426.5,0.25),(3426.5,226.75),(3242.5,226.75),(3242.5,-242.5)],
  [(2802.8,-242.2),(2802.8,-25.05),(2900,-25.05),(2900,-25.25),(2803,-25.25),(2803,-242),(3242,-242),(3242,227.25),(3427,227.25),(3427,-0.25),(3400,-0.25),(3400,-0.05),(3426.8,-0.05),(3426.8,227.05),(3242.2,227.05),(3242.2,-242.2)],
  [(2807,-238),(2807,-39.75),(2900,-39.75),(2900,-39.95),(2807.2,-39.95),(2807.2,-237.8),(3237.8,-237.8),(3237.8,231.45),(3431.2,231.45),(3431.2,-39.95),(3400,-39.95),(3400,-39.75),(3431,-39.75),(3431,231.25),(3238,231.25),(3238,-238)],
  [(2807.3,-237.7),(2807.3,-40.05),(2900,-40.05),(2900,-40.25),(2807.5,-40.25),(2807.5,-237.5),(3237.5,-237.5),(3237.5,231.75),(3431.5,231.75),(3431.5,-40.25),(3400,-40.25),(3400,-40.05),(3431.3,-40.05),(3431.3,231.55),(3237.7,231.55),(3237.7,-237.7)],
  [(2811.5,-233.5),(2811.5,-54.75),(2900,-54.75),(2900,-54.95),(2811.7,-54.95),(2811.7,-233.3),(3233.3,-233.3),(3233.3,235.95),(3435.7,235.95),(3435.7,-79.95),(3400,-79.95),(3400,-79.75),(3435.5,-79.75),(3435.5,235.75),(3233.5,235.75),(3233.5,-233.5)],
  [(2811.8,-233.2),(2811.8,-55.05),(2900,-55.05),(2900,-55.25),(2812,-55.25),(2812,-233),(3233,-233),(3233,236.25),(3436,236.25),(3436,-80.25),(3400,-80.25),(3400,-80.05),(3435.8,-80.05),(3435.8,236.05),(3233.2,236.05),(3233.2,-233.2)],
  [(2816,-229),(2816,-69.75),(2900,-69.75),(2900,-69.95),(2816.2,-69.95),(2816.2,-228.8),(3228.8,-228.8),(3228.8,240.45),(3440.2,240.45),(3440.2,-119.95),(3400,-119.95),(3400,-119.75),(3440,-119.75),(3440,240.25),(3229,240.25),(3229,-229)],
  [(2816.3,-228.7),(2816.3,-70.05),(2900,-70.05),(2900,-70.25),(2816.5,-70.25),(2816.5,-228.5),(3228.5,-228.5),(3228.5,240.75),(3440.5,240.75),(3440.5,-120.25),(3400,-120.25),(3400,-120.05),(3440.3,-120.05),(3440.3,240.55),(3228.7,240.55),(3228.7,-228.7)],
  [(2820.5,-224.5),(2820.5,-84.75),(2900,-84.75),(2900,-84.95),(2820.7,-84.95),(2820.7,-224.3),(3224.3,-224.3),(3224.3,244.95),(3444.7,244.95),(3444.7,-159.95),(3400,-159.95),(3400,-159.75),(3444.5,-159.75),(3444.5,244.75),(3224.5,244.75),(3224.5,-224.5)],
  [(2820.8,-224.2),(2820.8,-85.05),(2900,-85.05),(2900,-85.25),(2821,-85.25),(2821,-224),(3224,-224),(3224,245.25),(3445,245.25),(3445,-160.25),(3400,-160.25),(3400,-160.05),(3444.8,-160.05),(3444.8,245.05),(3224.2,245.05),(3224.2,-224.2)],
  [(2949.75,-220),(2949.75,-100),(2949.95,-100),(2949.95,-219.8),(3219.8,-219.8),(3219.8,249.45),(3449.2,249.45),(3449.2,-199.95),(3400,-199.95),(3400,-199.75),(3449,-199.75),(3449,249.25),(3220,249.25),(3220,-220)],
  [(2950.05,-219.7),(2950.05,-100),(2950.25,-100),(2950.25,-219.5),(3219.5,-219.5),(3219.5,249.75),(3449.5,249.75),(3449.5,-200.25),(3400,-200.25),(3400,-200.05),(3449.3,-200.05),(3449.3,249.55),(3219.7,249.55),(3219.7,-219.7)],
  [(3400,-239.95),(3400,-239.75),(3453.5,-239.75),(3453.5,253.75),(3215.5,253.75),(3215.5,-215.5),(2964.75,-215.5),(2964.75,-100),(2964.95,-100),(2964.95,-215.3),(3215.3,-215.3),(3215.3,253.95),(3453.7,253.95),(3453.7,-239.95)],
  [(3400,-240.25),(3400,-240.05),(3453.8,-240.05),(3453.8,254.05),(3215.2,254.05),(3215.2,-215.2),(2965.05,-215.2),(2965.05,-100),(2965.25,-100),(2965.25,-215),(3215,-215),(3215,254.25),(3454,254.25),(3454,-240.25)],
  [(3400,-279.95),(3400,-279.75),(3458,-279.75),(3458,258.25),(3211,258.25),(3211,-211),(2979.75,-211),(2979.75,-100),(2979.95,-100),(2979.95,-210.8),(3210.8,-210.8),(3210.8,258.45),(3458.2,258.45),(3458.2,-279.95)],
  [(3400,-280.25),(3400,-280.05),(3458.3,-280.05),(3458.3,258.55),(3210.7,258.55),(3210.7,-210.7),(2980.05,-210.7),(2980.05,-100),(2980.25,-100),(2980.25,-210.5),(3210.5,-210.5),(3210.5,258.75),(3458.5,258.75),(3458.5,-280.25)],
  [(3400,-319.95),(3400,-319.75),(3462.5,-319.75),(3462.5,262.75),(3206.5,262.75),(3206.5,-206.5),(2994.75,-206.5),(2994.75,-100),(2994.95,-100),(2994.95,-206.3),(3206.3,-206.3),(3206.3,262.95),(3462.7,262.95),(3462.7,-319.95)],
  [(3400,-320.25),(3400,-320.05),(3462.8,-320.05),(3462.8,263.05),(3206.2,263.05),(3206.2,-206.2),(2995.05,-206.2),(2995.05,-100),(2995.25,-100),(2995.25,-206),(3206,-206),(3206,263.25),(3463,263.25),(3463,-320.25)],
  [(3400,-359.95),(3400,-359.75),(3467,-359.75),(3467,267.25),(3202,267.25),(3202,-202),(3009.75,-202),(3009.75,-100),(3009.95,-100),(3009.95,-201.8),(3201.8,-201.8),(3201.8,267.45),(3467.2,267.45),(3467.2,-359.95)],
  [(3400,-360.25),(3400,-360.05),(3467.3,-360.05),(3467.3,267.55),(3201.7,267.55),(3201.7,-201.7),(3010.05,-201.7),(3010.05,-100),(3010.25,-100),(3010.25,-201.5),(3201.5,-201.5),(3201.5,267.75),(3467.5,267.75),(3467.5,-360.25)],
  [(3400,-399.95),(3400,-399.75),(3471.5,-399.75),(3471.5,271.75),(3197.5,271.75),(3197.5,-197.5),(3024.75,-197.5),(3024.75,-100),(3024.95,-100),(3024.95,-197.3),(3197.3,-197.3),(3197.3,271.95),(3471.7,271.95),(3471.7,-399.95)],
  [(3400,-400.25),(3400,-400.05),(3471.8,-400.05),(3471.8,272.05),(3197.2,272.05),(3197.2,-197.2),(3025.05,-197.2),(3025.05,-100),(3025.25,-100),(3025.25,-197),(3197,-197),(3197,272.25),(3472,272.25),(3472,-400.25)],
  [(3400,-439.95),(3400,-439.75),(3476,-439.75),(3476,276.25),(3193,276.25),(3193,-193),(3039.75,-193),(3039.75,-100),(3039.95,-100),(3039.95,-192.8),(3192.8,-192.8),(3192.8,276.45),(3476.2,276.45),(3476.2,-439.95)],
  [(3400,-440.25),(3400,-440.05),(3476.3,-440.05),(3476.3,276.55),(3192.7,276.55),(3192.7,-192.7),(3040.05,-192.7),(3040.05,-100),(3040.25,-100),(3040.25,-192.5),(3192.5,-192.5),(3192.5,276.75),(3476.5,276.75),(3476.5,-440.25)],
  [(3400,-479.95),(3400,-479.75),(3480.5,-479.75),(3480.5,280.75),(3188.5,280.75),(3188.5,-188.5),(3054.75,-188.5),(3054.75,-100),(3054.95,-100),(3054.95,-188.3),(3188.3,-188.3),(3188.3,280.95),(3480.7,280.95),(3480.7,-479.95)],
  [(3400,-480.25),(3400,-480.05),(3480.8,-480.05),(3480.8,281.05),(3188.2,281.05),(3188.2,-188.2),(3055.05,-188.2),(3055.05,-100),(3055.25,-100),(3055.25,-188),(3188,-188),(3188,281.25),(3481,281.25),(3481,-480.25)],
  [(3400,-519.95),(3400,-519.75),(3485,-519.75),(3485,285.25),(3184,285.25),(3184,-184),(3069.75,-184),(3069.75,-100),(3069.95,-100),(3069.95,-183.8),(3183.8,-183.8),(3183.8,285.45),(3485.2,285.45),(3485.2,-519.95)],
  [(3400,-520.25),(3400,-520.05),(3485.3,-520.05),(3485.3,285.55),(3183.7,285.55),(3183.7,-183.7),(3070.05,-183.7),(3070.05,-100),(3070.25,-100),(3070.25,-183.5),(3183.5,-183.5),(3183.5,285.75),(3485.5,285.75),(3485.5,-520.25)],
  [(3400,-559.95),(3400,-559.75),(3489.5,-559.75),(3489.5,289.75),(3179.5,289.75),(3179.5,-179.5),(3084.75,-179.5),(3084.75,-100),(3084.95,-100),(3084.95,-179.3),(3179.3,-179.3),(3179.3,289.95),(3489.7,289.95),(3489.7,-559.95)],
  [(3400,-560.25),(3400,-560.05),(3489.8,-560.05),(3489.8,290.05),(3179.2,290.05),(3179.2,-179.2),(3085.05,-179.2),(3085.05,-100),(3085.25,-100),(3085.25,-179),(3179,-179),(3179,290.25),(3490,290.25),(3490,-560.25)])
R(test_smart_routing_start, FLOORPLAN, [(-175,-175,175,175), (2825,-175,3175,175), (-175,2825,175,3175), (2825,2825,3175,3175)])
P(test_smart_routing_start, FLOORPLAN, [(-400,-200),(-400,560),(-400,560),(-400,-200)],
  [(-560,2600),(-560,2600),(200,2600),(200,2600)],
  [(3400,-560),(3400,200),(3400,200),(3400,-560)],
  [(2800,3400),(2800,3400),(3560,3400),(3560,3400)])

lib.write_gds('test_smart_routing_start_bboxTrue_sort_portsFalse_indirectTrue_start_angle0m2False_m1False_zTrue_p1True_p2False.gds')
